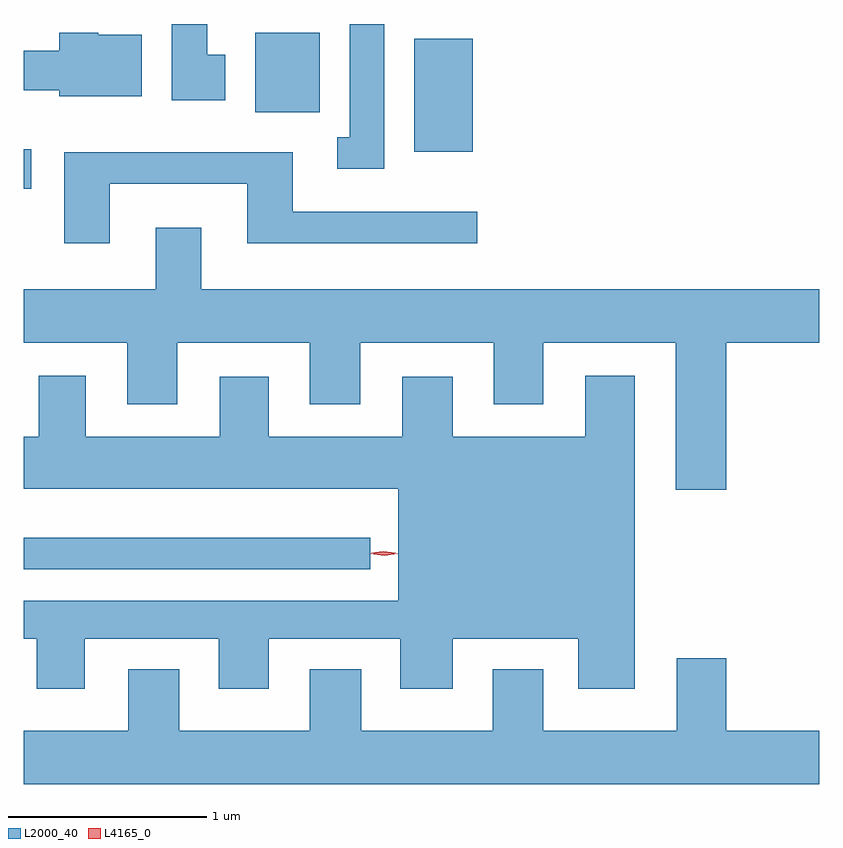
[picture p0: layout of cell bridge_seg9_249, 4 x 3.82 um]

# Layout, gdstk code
import gdstk
lib = gdstk.Library(unit=1e-6, precision=1e-09)
def R(c, l, rs):  # rectangles x0, y0, x1, y1
    for r in rs: c.add(gdstk.rectangle(r[:2], r[2:], *l))
def P(c, l, *ps):  # polygons
    for p in ps: c.add(gdstk.Polygon(p, *l))
L2000_40 = (2000, 40)
L4165_0 = (4165, 0)

bridge_seg9_249 = lib.new_cell('bridge_seg9_249')
R(bridge_seg9_249, L2000_40, [(1304.767,1970.696,1306.508,1970.854), (1304.767,1972.611,1304.804,1972.809), (1306.731,1972.796,1307.024,1973.364), (1305.931,1972.996,1306.254,1973.394)])
P(bridge_seg9_249, L2000_40, [(1306.579,1973.439),(1306.406,1973.439),(1306.406,1972.869),(1306.343,1972.869),(1306.343,1972.711),(1306.579,1972.711)],
  [(1305.779,1973.284),(1305.689,1973.284),(1305.689,1973.439),(1305.511,1973.439),(1305.511,1973.056),(1305.779,1973.056)],
  [(1305.359,1973.384),(1305.14,1973.384),(1305.14,1973.394),(1304.946,1973.394),(1304.946,1973.304),(1304.767,1973.304),(1304.767,1973.106),(1304.946,1973.106),(1304.946,1973.076),(1305.359,1973.076)],
  [(1305.199,1972.636),(1305.891,1972.636),(1305.891,1972.336),(1307.048,1972.336),(1307.048,1972.494),(1306.119,1972.494),(1306.119,1972.794),(1304.971,1972.794),(1304.971,1972.336),(1305.199,1972.336)],
  [(1308.299,1971.836),(1308.767,1971.836),(1308.767,1972.104),(1305.659,1972.104),(1305.659,1972.414),(1305.431,1972.414),(1305.431,1972.104),(1304.767,1972.104),(1304.767,1971.836),(1305.286,1971.836),(1305.286,1971.526),(1305.539,1971.526),(1305.539,1971.836),(1306.206,1971.836),(1306.206,1971.526),(1306.459,1971.526),(1306.459,1971.836),(1307.131,1971.836),(1307.131,1971.526),(1307.379,1971.526),(1307.379,1971.836),(1308.046,1971.836),(1308.046,1971.096),(1308.299,1971.096)],
  [(1305.074,1970.346),(1305.746,1970.346),(1305.746,1970.096),(1305.999,1970.096),(1305.999,1970.346),(1306.661,1970.346),(1306.661,1970.096),(1306.924,1970.096),(1306.924,1970.346),(1307.556,1970.346),(1307.556,1970.096),(1307.839,1970.096),(1307.839,1971.669),(1307.591,1971.669),(1307.591,1971.364),(1306.924,1971.364),(1306.924,1971.664),(1306.671,1971.664),(1306.671,1971.364),(1305.999,1971.364),(1305.999,1971.664),(1305.751,1971.664),(1305.751,1971.364),(1305.079,1971.364),(1305.079,1971.669),(1304.841,1971.669),(1304.841,1971.364),(1304.767,1971.364),(1304.767,1971.101),(1306.651,1971.101),(1306.651,1970.539),(1304.767,1970.539),(1304.767,1970.346),(1304.831,1970.346),(1304.831,1970.096),(1305.074,1970.096)],
  [(1308.767,1969.884),(1308.299,1969.884),(1308.299,1970.249),(1308.051,1970.249),(1308.051,1969.884),(1307.379,1969.884),(1307.379,1970.194),(1307.126,1970.194),(1307.126,1969.884),(1306.464,1969.884),(1306.464,1970.194),(1306.206,1970.194),(1306.206,1969.884),(1305.549,1969.884),(1305.549,1970.194),(1305.291,1970.194),(1305.291,1969.884),(1304.767,1969.884),(1304.767,1969.616),(1308.767,1969.616)])
P(bridge_seg9_249, L4165_0, [(1306.579,1970.764),(1306.51,1970.774),(1306.51,1970.774),(1306.51,1970.775),(1306.579,1970.784),(1306.647,1970.775),(1306.648,1970.774),(1306.647,1970.774)],
  [(1306.575,1970.768),(1306.513,1970.778),(1306.513,1970.778),(1306.513,1970.779),(1306.575,1970.788),(1306.638,1970.779),(1306.638,1970.779),(1306.638,1970.778)])

lib.write_gds('bridge_seg9_249.gds')
